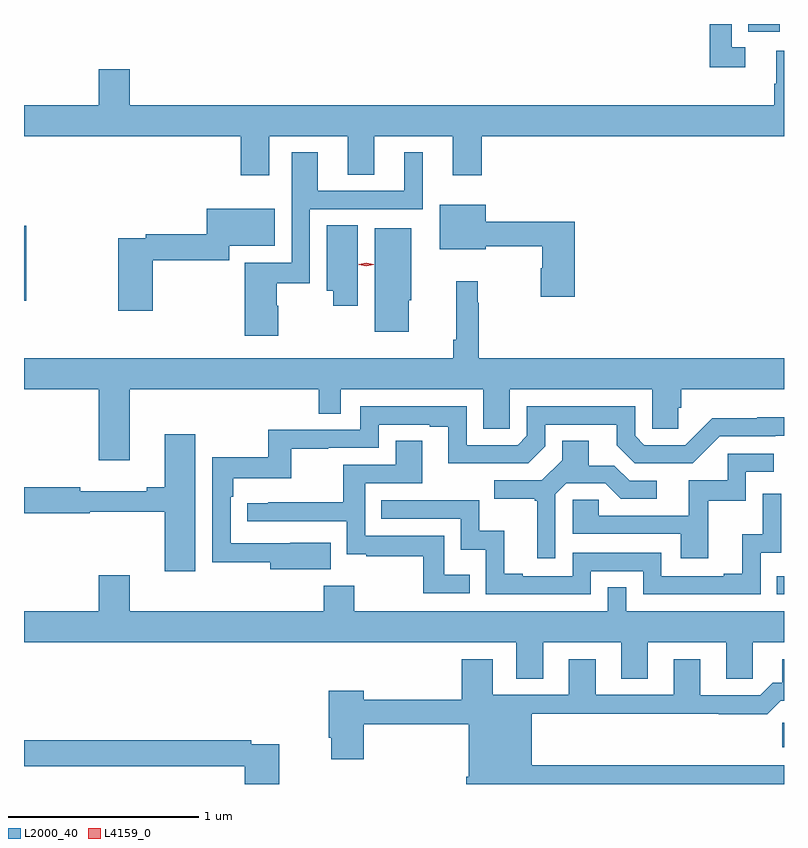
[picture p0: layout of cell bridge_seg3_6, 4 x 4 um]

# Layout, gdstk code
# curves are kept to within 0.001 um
import gdstk
lib = gdstk.Library(unit=1e-6, precision=1e-09)
def R(c, l, rs):  # rectangles x0, y0, x1, y1
    for r in rs: c.add(gdstk.rectangle(r[:2], r[2:], *l))
def P(c, l, *ps):  # polygons
    for p in ps: c.add(gdstk.Polygon(p, *l))
L2000_40 = (2000, 40)
L4159_0 = (4159, 0)

bridge_seg3_6 = lib.new_cell('bridge_seg3_6')
R(bridge_seg3_6, L2000_40, [(995.778,744.32,995.787,744.449), (995.749,745.125,995.787,745.221), (991.787,746.67,991.799,747.064), (995.6,748.086,995.764,748.127)])
P(bridge_seg3_6, L2000_40, [(995.584,748.005),(995.511,748.005),(995.511,748.127),(995.395,748.127),(995.395,747.9),(995.584,747.9)],
  [(993.079,747.536),(993.491,747.536),(993.491,747.334),(993.631,747.334),(993.631,747.536),(994.043,747.536),(994.043,747.33),(994.196,747.33),(994.196,747.536),(995.787,747.536),(995.787,747.986),(995.747,747.986),(995.747,747.812),(995.735,747.812),(995.735,747.7),(992.344,747.7),(992.344,747.889),(992.18,747.889),(992.18,747.7),(991.787,747.7),(991.787,747.536),(992.927,747.536),(992.927,747.33),(993.079,747.33)],
  [(993.126,746.643),(993.118,746.643),(993.118,746.763),(993.291,746.763),(993.291,747.153),(993.886,747.153),(993.886,747.451),(993.788,747.451),(993.788,747.249),(993.334,747.249),(993.334,747.451),(993.195,747.451),(993.195,746.871),(992.948,746.871),(992.948,746.486),(993.126,746.486)],
  [(994.685,747.085),(994.216,747.085),(994.216,747.175),(993.974,747.175),(993.974,746.942),(994.216,746.942),(994.216,746.956),(994.514,746.956),(994.514,746.841),(994.507,746.841),(994.507,746.691),(994.685,746.691)],
  [(992.465,746.884),(992.866,746.884),(992.866,746.96),(993.106,746.96),(993.106,747.154),(992.75,747.154),(992.75,747.02),(992.428,747.02),(992.428,747),(992.282,747),(992.282,746.619),(992.465,746.619)],
  [(993.544,747.068),(993.38,747.068),(993.38,746.723),(993.415,746.723),(993.415,746.643),(993.544,746.643)],
  [(993.811,746.673),(993.826,746.673),(993.826,747.052),(993.632,747.052),(993.632,746.507),(993.811,746.507)],
  [(992.344,746.204),(993.337,746.204),(993.337,746.077),(993.453,746.077),(993.453,746.204),(994.205,746.204),(994.205,745.996),(994.344,745.996),(994.344,746.204),(995.094,746.204),(995.094,745.996),(995.231,745.996),(995.231,746.106),(995.246,746.106),(995.246,746.204),(995.787,746.204),(995.787,746.368),(994.181,746.368),(994.181,746.66),(994.174,746.66),(994.174,746.773),(994.063,746.773),(994.063,746.464),(994.045,746.464),(994.045,746.368),(991.787,746.368),(991.787,746.204),(992.18,746.204),(992.18,745.83),(992.344,745.83)],
  [(993.401,745.396),(992.874,745.395),(992.874,745.64),(992.888,745.64),(992.888,745.736),(993.193,745.736),(993.193,745.891),(993.389,745.891),(993.389,745.896),(993.654,745.896),(993.654,746.019),(993.923,746.019),(993.923,746.007),(994.019,746.007),(994.019,745.814),(994.44,745.815),(994.53,745.905),(994.53,746.019),(994.907,746.019),(994.907,745.909),(995.001,745.815),(995.307,745.815),(995.448,745.956),(995.741,745.956),(995.741,745.959),(995.787,745.959),(995.787,746.056),(995.646,746.056),(995.646,746.053),(995.41,746.053),(995.268,745.911),(995.052,745.911),(995.004,745.959),(995.004,746.115),(994.434,746.115),(994.434,745.959),(994.386,745.911),(994.116,745.911),(994.116,746.115),(993.558,746.115),(993.558,745.992),(993.072,745.992),(993.072,745.846),(992.778,745.846),(992.778,745.294),(993.083,745.294),(993.083,745.256),(993.401,745.256)],
  [(992.689,745.969),(992.528,745.969),(992.528,745.688),(992.432,745.688),(992.432,745.669),(992.084,745.669),(992.084,745.688),(991.787,745.688),(991.787,745.552),(992.132,745.552),(992.132,745.56),(992.528,745.56),(992.528,745.248),(992.689,745.248)],
  [(994.133,745.228),(993.999,745.228),(993.999,745.434),(993.582,745.434),(993.582,745.71),(993.883,745.71),(993.883,745.934),(993.743,745.934),(993.743,745.806),(993.466,745.806),(993.466,745.61),(993.073,745.61),(993.073,745.605),(992.961,745.605),(992.961,745.509),(993.486,745.509),(993.486,745.337),(993.589,745.337),(993.589,745.326),(993.888,745.326),(993.888,745.131),(994.133,745.131)],
  [(994.584,745.653),(994.641,745.71),(994.847,745.71),(994.928,745.629),(995.116,745.629),(995.116,745.722),(994.974,745.722),(994.894,745.802),(994.759,745.802),(994.759,745.934),(994.619,745.934),(994.619,745.832),(994.512,745.725),(994.263,745.725),(994.263,745.628),(994.476,745.628),(994.476,745.617),(994.487,745.617),(994.487,745.314),(994.584,745.314)],
  [(995.387,745.617),(995.586,745.617),(995.586,745.77),(995.734,745.77),(995.734,745.866),(995.49,745.866),(995.49,745.725),(995.285,745.725),(995.285,745.539),(994.811,745.539),(994.811,745.623),(994.674,745.623),(994.674,745.443),(995.243,745.443),(995.243,745.314),(995.387,745.314)],
  [(994.77,745.248),(995.046,745.248),(995.046,745.125),(995.664,745.125),(995.664,745.344),(995.772,745.344),(995.772,745.654),(995.676,745.654),(995.676,745.442),(995.567,745.442),(995.567,745.234),(995.471,745.234),(995.471,745.221),(995.142,745.221),(995.142,745.344),(994.674,745.344),(994.674,745.221),(994.411,745.221),(994.411,745.234),(994.315,745.234),(994.315,745.459),(994.182,745.459),(994.182,745.62),(993.667,745.62),(993.667,745.524),(994.086,745.524),(994.086,745.361),(994.218,745.361),(994.218,745.125),(994.77,745.125)],
  [(994.519,744.872),(994.931,744.872),(994.931,744.682),(995.071,744.682),(995.071,744.872),(995.483,744.872),(995.483,744.682),(995.622,744.682),(995.622,744.872),(995.787,744.872),(995.787,745.036),(994.956,745.036),(994.956,745.163),(994.86,745.163),(994.86,745.036),(993.525,745.036),(993.525,745.171),(993.365,745.171),(993.365,745.036),(992.344,745.036),(992.344,745.225),(992.18,745.225),(992.18,745.036),(991.787,745.036),(991.787,744.872),(994.379,744.872),(994.379,744.682),(994.519,744.682)],
  [(995.787,744.226),(994.459,744.226),(994.459,744.496),(995.443,744.496),(995.443,744.494),(995.699,744.494),(995.769,744.564),(995.787,744.564),(995.787,744.784),(995.777,744.784),(995.777,744.661),(995.728,744.661),(995.661,744.594),(995.347,744.594),(995.347,744.784),(995.207,744.784),(995.207,744.597),(994.795,744.597),(994.795,744.784),(994.655,744.784),(994.655,744.597),(994.255,744.597),(994.255,744.784),(994.091,744.784),(994.091,744.571),(993.575,744.571),(993.575,744.619),(993.392,744.619),(993.392,744.37),(993.404,744.37),(993.404,744.258),(993.575,744.258),(993.575,744.442),(994.127,744.442),(994.127,744.166),(994.115,744.166),(994.115,744.127),(995.787,744.127)],
  [(993.131,744.336),(992.984,744.336),(992.984,744.356),(991.787,744.356),(991.787,744.22),(992.948,744.22),(992.948,744.127),(993.131,744.127)])
P(bridge_seg3_6, L4159_0, [(993.588,746.851),(993.549,746.861),(993.549,746.861),(993.549,746.862),(993.588,746.871),(993.627,746.862),(993.627,746.861),(993.627,746.861)])

lib.write_gds('bridge_seg3_6.gds')
